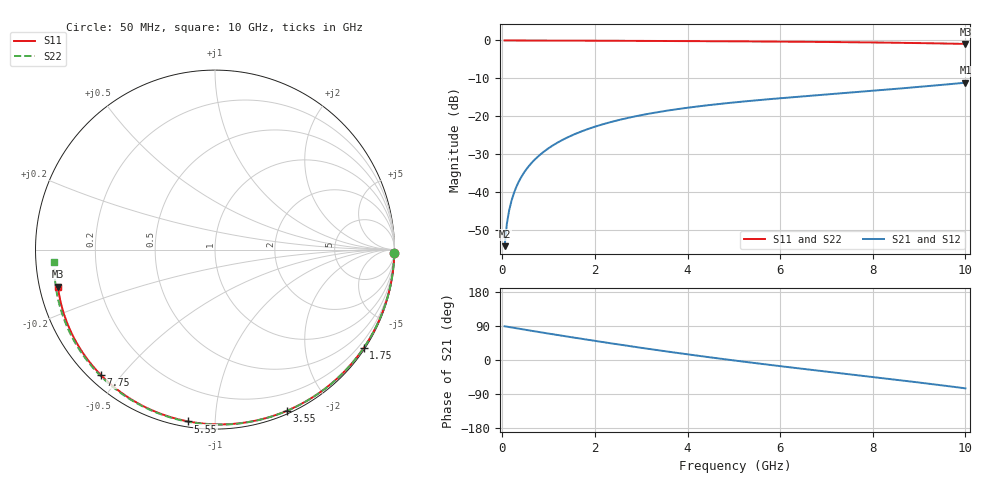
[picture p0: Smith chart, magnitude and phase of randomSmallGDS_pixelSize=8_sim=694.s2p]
! freq	dB(S11)	phase(S11)	dB(S12)	phase(S12)
!  dB(S21)	phase(S21)	dB(S22)	phase(S22)
!S-par simulation data
#  GHz  S  DB  R 50
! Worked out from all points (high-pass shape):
!   200 points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, 50 MHz to 10 GHz, reference 50 ohm
!   highest |S21| = -11.15 dB at 10 GHz (marker M1); lowest = -54.3 dB at 50 MHz (marker M2)
!   |S21| within 3 dB of the highest: 7.111 GHz to end of sweep
!   lowest |S11| = -0.9 dB at 10 GHz (marker M3), VSWR 18.87, Z = 2.69 - j5.78 ohm
!   |S11| at or under -10 dB: nowhere
!   |S22| runs from -0.9 to 0.0 dB; largest |S21 - S12| = 0
!   S11 on the Smith chart (normalised r, x): 50 MHz: open; 1.75 GHz: 0.04, -3.31; 3.55 GHz: 0.03, -1.54; 5.55 GHz: 0.03, -0.86; 7.75 GHz: 0.03, -0.44; 10 GHz: 0.05, -0.12
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0.05  -0.01 -1.0  -54.26 89.0  -54.26 89.0  -0.01 -1.0
0.1  -0.01 -2.0  -48.24 87.9  -48.24 87.9  -0.01 -2.1
0.15  -0.01 -2.9  -44.72 86.9  -44.72 86.9  -0.01 -3.1
0.2  -0.01 -3.9  -42.22 85.8  -42.22 85.8  -0.01 -4.1
0.25  -0.01 -4.9  -40.29 84.8  -40.29 84.8  -0.01 -5.2
0.35  -0.01 -6.8  -37.38 82.7  -37.38 82.7  -0.01 -7.2
0.5  -0.01 -9.7  -34.31 79.7  -34.31 79.7  -0.02 -10.3
0.7  -0.02 -13.6  -31.44 75.6  -31.44 75.6  -0.02 -14.4
1  -0.03 -19.4  -28.42 69.7  -28.42 69.7  -0.03 -20.5
1.35  -0.04 -26.0  -25.92 62.9  -25.92 62.9  -0.05 -27.6
1.75  -0.06 -33.6  -23.81 55.2  -23.81 55.2  -0.06 -35.6
2.6  -0.10 -49.2  -20.74 39.4  -20.74 39.4  -0.10 -52.1
3.4  -0.14 -63.4  -18.83 25.1  -18.83 25.1  -0.14 -67.0
3.55  -0.15 -66.0  -18.54 22.6  -18.54 22.6  -0.15 -69.7
4.3  -0.19 -78.7  -17.29 10.0  -17.29 10.0  -0.19 -83.1
5.05  -0.24 -91.0  -16.30 -1.9  -16.30 -1.9  -0.24 -95.9
5.55  -0.27 -98.9  -15.72 -9.5  -15.72 -9.5  -0.28 -104.2
6.7  -0.37 -116.6  -14.55 -26.4  -14.55 -26.4  -0.38 -122.7
7.75  -0.50 -132.4  -13.53 -41.3  -13.53 -41.3  -0.51 -139.3
8.35  -0.58 -141.4  -12.92 -49.9  -12.92 -49.9  -0.60 -148.8
9.2  -0.74 -154.3  -12.04 -62.4  -12.04 -62.4  -0.75 -162.4
10  -0.92 -166.8  -11.15 -74.8  -11.15 -74.8  -0.94 -175.7
